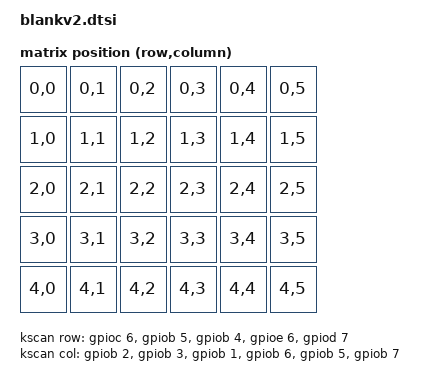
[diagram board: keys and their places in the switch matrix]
#include <dt-bindings/zmk/matrix_transform.h>
#include "blankv2-layouts.dtsi"

&kscan {
    compatible = "zmk,kscan-gpio-matrix";
    diode-direction = "col2row";
    wakeup-source;

    /* ROWS — 5 rows */
    row-gpios =
        <&gpioc 6 GPIO_ACTIVE_LOW>,  /* pin 9  → PC6 → row0 */
        <&gpiob 5 GPIO_ACTIVE_LOW>,  /* pin 13 → PB5 → row1 */
        <&gpiob 4 GPIO_ACTIVE_LOW>,  /* pin 12 → PB4 → row2 */
        <&gpioe 6 GPIO_ACTIVE_LOW>,  /* pin 11 → PE6 → row3 */
        <&gpiod 7 GPIO_ACTIVE_LOW>;  /* pin 10 → PD7 → row4 */

    /* COLUMNS — 6 columns */
    col-gpios =
        <&gpiob 2 GPIO_ACTIVE_LOW>,  /* pin 19 → PB2 → col0 */
        <&gpiob 3 GPIO_ACTIVE_LOW>,  /* pin 18 → PB3 → col1 */
        <&gpiob 1 GPIO_ACTIVE_LOW>,  /* pin 17 → PB1 → col2 */
        <&gpiob 6 GPIO_ACTIVE_LOW>,  /* pin 16 → PB6 → col3 */
        <&gpiob 5 GPIO_ACTIVE_LOW>,  /* pin 15 → PB5 → col4 */
        <&gpiob 7 GPIO_ACTIVE_LOW>;  /* pin 14 → PB7 → col5 */
};

default_transform: default_transform {
    compatible = "zmk,matrix-transform";
    columns = <6>;
    rows = <5>;

    map = <
        RC(0,0) RC(0,1) RC(0,2) RC(0,3) RC(0,4) RC(0,5)
        RC(1,0) RC(1,1) RC(1,2) RC(1,3) RC(1,4) RC(1,5)
        RC(2,0) RC(2,1) RC(2,2) RC(2,3) RC(2,4) RC(2,5)
        RC(3,0) RC(3,1) RC(3,2) RC(3,3) RC(3,4) RC(3,5)
        RC(4,0) RC(4,1) RC(4,2) RC(4,3) RC(4,4) RC(4,5)
    >;
};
